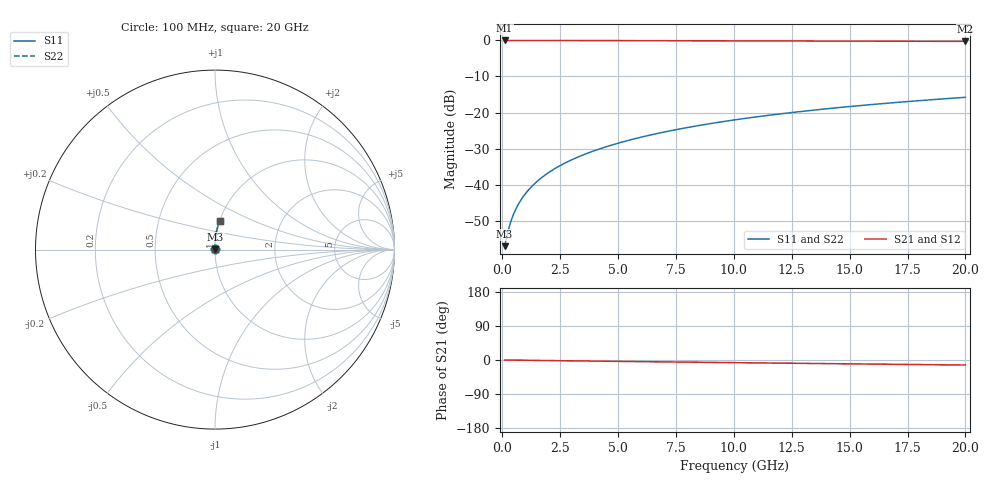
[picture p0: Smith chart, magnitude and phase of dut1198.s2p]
! Touchstone file exported from HFSS 2024.1.0
!  File:  C:/UserFiles/LocalFiles/RDL_TSV_Batchsim/temp_RDL_bottom_1198_1780057936.aedt
!  Generated:  08:34:30 PM May 29, 2026
!  Design:  RDL_bottom
!  Project:  temp_RDL_bottom_1198_1780057936
!  Setup:  Setup1
!  Solution:  Sweep
! Variables:
!  dtsv = 10.80580581um
!  hbump = 3um
!  htsv = 82.71um
!  ldown = 134.11um
!  lrdl = 100um
!  p = 40
!  p1 = 54.55um
!  rhole = 1um
!  t = 450um
!  tdown = 2.55um
!  trdl = 3.915915916um
!  wdown = 22.24um
!  wrdl = 20um
# GHz S MA R 50.000000
! Terminal data exported
! Port[1] = RDL1_T1
! Port[2] = RDL1_T2
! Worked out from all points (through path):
!   200 points, 100 MHz to 20 GHz, reference 50 ohm
!   highest |S21| = -0.01 dB at 100 MHz (marker M1); lowest = -0.3 dB at 20 GHz (marker M2)
!   group delay of S21, straight-line fit = 1.83 ps
!   lowest |S11| = -57.0 dB at 100 MHz (marker M3), VSWR 1.00, Z = 50.1 + j0.0783 ohm
!   |S11| at or under -10 dB: start of sweep to end of sweep
!   |S22| runs from -57.0 to -15.8 dB; largest |S21 - S12| = 3.1e-15
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0.1  0.001407 33.7  0.9988 -0.1  0.9988 -0.1  0.001407 33.7
! Gamma 0 0 0 0
! Port Impedance 50 0 50 0
0.2  0.001959 52.4  0.9988 -0.2  0.9988 -0.2  0.001959 52.4
0.3  0.002616 62.0  0.9987 -0.2  0.9987 -0.2  0.002616 62.0
0.4  0.003303 67.5  0.9987 -0.3  0.9987 -0.3  0.003303 67.5
0.5  0.003999 71.1  0.9986 -0.4  0.9986 -0.4  0.003999 71.1
0.6  0.004698 73.7  0.9986 -0.5  0.9986 -0.5  0.004698 73.7
0.8  0.006104 77.3  0.9985 -0.6  0.9985 -0.6  0.006104 77.3
1.1  0.00823 80.5  0.9983 -0.8  0.9983 -0.8  0.00823 80.5
1.3  0.009661 81.9  0.9982 -1.0  0.9982 -1.0  0.009661 81.9
1.6  0.01182 83.5  0.998 -1.2  0.998 -1.2  0.01182 83.5
2.1  0.01547 85.3  0.9977 -1.6  0.9977 -1.6  0.01547 85.3
2.7  0.01992 86.6  0.9972 -2.0  0.9972 -2.0  0.01992 86.6
3.5  0.02596 87.6  0.9963 -2.6  0.9963 -2.6  0.02596 87.6
4.2  0.03135 88.1  0.9954 -3.1  0.9954 -3.1  0.03135 88.1
5  0.03763 88.5  0.9944 -3.6  0.9944 -3.6  0.03763 88.5
5.9  0.04484 88.6  0.993 -4.3  0.993 -4.3  0.04484 88.6
6.8  0.05218 88.5  0.9916 -4.9  0.9916 -4.9  0.05218 88.5
8.4  0.06546 87.9  0.989 -5.9  0.989 -5.9  0.06546 87.9
10.1  0.07978 87.1  0.9863 -7.0  0.9863 -7.0  0.07978 87.0
13.4  0.1077 84.9  0.9808 -9.2  0.9808 -9.2  0.1077 84.9
16.7  0.1355 82.5  0.9752 -11.2  0.9752 -11.2  0.1355 82.5
20  0.1627 80.2  0.9695 -13.3  0.9695 -13.3  0.1627 80.2
